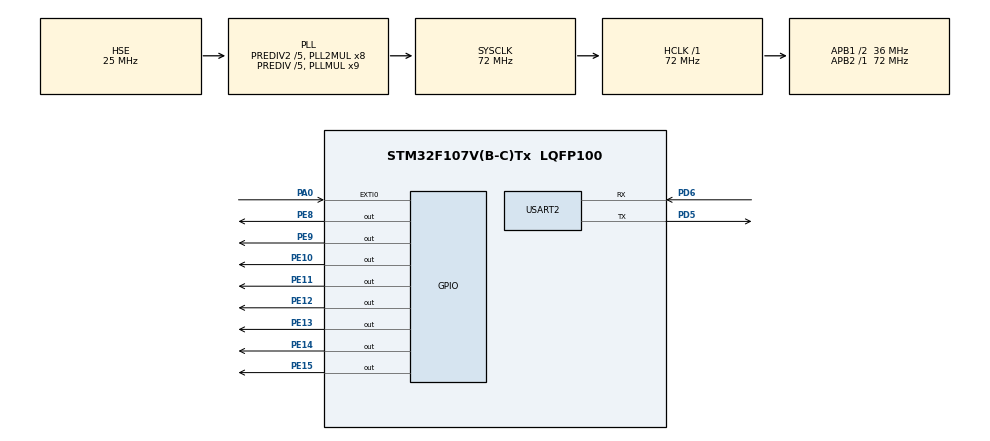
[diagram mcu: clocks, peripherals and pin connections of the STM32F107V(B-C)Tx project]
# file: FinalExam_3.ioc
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Mcu.Family=STM32F1
Mcu.Name=STM32F107V(B-C)Tx
Mcu.Package=LQFP100
NVIC.EXTI0_IRQn=true\:2\:0\:true\:false\:true\:true
NVIC.PriorityGroup=NVIC_PRIORITYGROUP_4
NVIC.TIM2_IRQn=true\:1\:0\:true\:false\:true\:true
OSC_IN.Mode=HSE-External-Oscillator
OSC_IN.Signal=RCC_OSC_IN
OSC_OUT.Mode=HSE-External-Oscillator
OSC_OUT.Signal=RCC_OSC_OUT
PA0-WKUP.Signal=GPXTI0
PD5.Mode=Asynchronous
PD5.Signal=USART2_TX
PD6.Mode=Asynchronous
PD6.Signal=USART2_RX
PE10.GPIO_Speed=GPIO_SPEED_FREQ_HIGH
PE10.Signal=GPIO_Output
PE11.GPIO_Speed=GPIO_SPEED_FREQ_HIGH
PE11.Signal=GPIO_Output
PE12.GPIO_Speed=GPIO_SPEED_FREQ_HIGH
PE12.Signal=GPIO_Output
PE13.GPIO_Speed=GPIO_SPEED_FREQ_HIGH
PE13.Signal=GPIO_Output
PE14.GPIO_Speed=GPIO_SPEED_FREQ_HIGH
PE14.Signal=GPIO_Output
PE15.GPIO_Speed=GPIO_SPEED_FREQ_HIGH
PE15.Signal=GPIO_Output
PE8.GPIO_Speed=GPIO_SPEED_FREQ_HIGH
PE8.Signal=GPIO_Output
PE9.GPIO_Speed=GPIO_SPEED_FREQ_HIGH
PE9.Signal=GPIO_Output
ProjectManager.HeapSize=0x200
ProjectManager.StackSize=0x400
ProjectManager.TargetToolchain=MDK-ARM V5
RCC.AHBFreq_Value=72000000
RCC.APB1CLKDivider=RCC_HCLK_DIV2
RCC.APB1Freq_Value=36000000
RCC.APB1TimFreq_Value=72000000
RCC.APB2Freq_Value=72000000
RCC.APB2TimFreq_Value=72000000
RCC.HCLKFreq_Value=72000000
RCC.HSEDivPLL=RCC_HSE_PREDIV_DIV5
RCC.HSE_VALUE=25000000
RCC.PLLMUL=RCC_PLL_MUL9
RCC.PLLSourceVirtual=RCC_PLLSOURCE_HSE
RCC.Prediv1Source=RCC_PREDIV1_SOURCE_PLL2
RCC.Prediv2=RCC_HSE_PREDIV2_DIV5
RCC.SYSCLKFreq_VALUE=72000000
RCC.SYSCLKSource=RCC_SYSCLKSOURCE_PLLCLK
RCC.USBFreq_Value=48000000
TIM2.Period=100-1
TIM2.Prescaler=72-1
USART2.VirtualMode=VM_ASYNC
VP_SYS_VS_ND.Mode=No_Debug
VP_TIM2_VS_ClockSourceINT.Mode=Internal
board=FinalExam_3

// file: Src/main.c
/**
  ******************************************************************************
  * File Name          : main.c
  * Description        : Main program body
  ******************************************************************************
  ** This notice applies to any and all portions of this file
  * that are not between comment pairs USER CODE BEGIN and
  * USER CODE END. Other portions of this file, whether
  * inserted by the user or by software development tools
  * are owned by their respective copyright owners.
  *
  * COPYRIGHT(c) 2018 STMicroelectronics
  *
  * Redistribution and use in source and binary forms, with or without modification,
  * are permitted provided that the following conditions are met:
  *   1. Redistributions of source code must retain the above copyright notice,
  *      this list of conditions and the following disclaimer.
  *   2. Redistributions in binary form must reproduce the above copyright notice,
  *      this list of conditions and the following disclaimer in the documentation
  *      and/or other materials provided with the distribution.
  *   3. Neither the name of STMicroelectronics nor the names of its contributors
  *      may be used to endorse or promote products derived from this software
  *      without specific prior written permission.
  *
  * THIS SOFTWARE IS PROVIDED BY THE COPYRIGHT HOLDERS AND CONTRIBUTORS "AS IS"
  * AND ANY EXPRESS OR IMPLIED WARRANTIES, INCLUDING, BUT NOT LIMITED TO, THE
  * IMPLIED WARRANTIES OF MERCHANTABILITY AND FITNESS FOR A PARTICULAR PURPOSE ARE
  * DISCLAIMED. IN NO EVENT SHALL THE COPYRIGHT HOLDER OR CONTRIBUTORS BE LIABLE
  * FOR ANY DIRECT, INDIRECT, INCIDENTAL, SPECIAL, EXEMPLARY, OR CONSEQUENTIAL
  * DAMAGES (INCLUDING, BUT NOT LIMITED TO, PROCUREMENT OF SUBSTITUTE GOODS OR
  * SERVICES; LOSS OF USE, DATA, OR PROFITS; OR BUSINESS INTERRUPTION) HOWEVER
  * CAUSED AND ON ANY THEORY OF LIABILITY, WHETHER IN CONTRACT, STRICT LIABILITY,
  * OR TORT (INCLUDING NEGLIGENCE OR OTHERWISE) ARISING IN ANY WAY OUT OF THE USE
  * OF THIS SOFTWARE, EVEN IF ADVISED OF THE POSSIBILITY OF SUCH DAMAGE.
  *
  ******************************************************************************
  */

#include "main.h"
#include "stm32f1xx_hal.h"

/* USER CODE BEGIN Includes */
#include <string.h>
/* USER CODE END Includes */

TIM_HandleTypeDef htim2;

UART_HandleTypeDef huart2;

/* USER CODE BEGIN PV */
/* Private variables ---------------------------------------------------------*/
uint32_t count = 0;
uint32_t ledhex = 0;
uint32_t n = 0;
char timestr[10];

/* USER CODE END PV */

void SystemClock_Config(void);
static void MX_GPIO_Init(void);
static void MX_USART2_UART_Init(void);
static void MX_TIM2_Init(void);

/* USER CODE BEGIN PFP */
/* Private function prototypes -----------------------------------------------*/
void transmit(char*);
void timedigit(uint32_t, uint8_t);
/* USER CODE END PFP */

int main(void)
{

  /* MCU Configuration----------------------------------------------------------*/

  /* Reset of all peripherals, Initializes the Flash interface and the Systick. */
  HAL_Init();

  /* Configure the system clock */
  SystemClock_Config();

  /* Initialize all configured peripherals */
  MX_GPIO_Init();
  MX_USART2_UART_Init();
  MX_TIM2_Init();

  /* USER CODE BEGIN 2 */
	HAL_TIM_Base_Start_IT(&htim2);
  /* USER CODE END 2 */

  /* Infinite loop */
  while (1)
  {

  /* USER CODE BEGIN 3 */
	timedigit(count, 0);
	HAL_Delay(10);
  }
  /* USER CODE END 3 */

}

/** System Clock Configuration
*/
void SystemClock_Config(void)
{

  RCC_OscInitTypeDef RCC_OscInitStruct;
  RCC_ClkInitTypeDef RCC_ClkInitStruct;

    /**Initializes the CPU, AHB and APB busses clocks
    */
  RCC_OscInitStruct.OscillatorType = RCC_OSCILLATORTYPE_HSE;
  RCC_OscInitStruct.HSEState = RCC_HSE_ON;
  RCC_OscInitStruct.HSEPredivValue = RCC_HSE_PREDIV_DIV5;
  RCC_OscInitStruct.HSIState = RCC_HSI_ON;
  RCC_OscInitStruct.Prediv1Source = RCC_PREDIV1_SOURCE_PLL2;
  RCC_OscInitStruct.PLL.PLLState = RCC_PLL_ON;
  RCC_OscInitStruct.PLL.PLLSource = RCC_PLLSOURCE_HSE;
  RCC_OscInitStruct.PLL.PLLMUL = RCC_PLL_MUL9;
  RCC_OscInitStruct.PLL2.PLL2State = RCC_PLL2_ON;
  RCC_OscInitStruct.PLL2.PLL2MUL = RCC_PLL2_MUL8;
  RCC_OscInitStruct.PLL2.HSEPrediv2Value = RCC_HSE_PREDIV2_DIV5;
  if (HAL_RCC_OscConfig(&RCC_OscInitStruct) != HAL_OK)
  {
    _Error_Handler(__FILE__, __LINE__);
  }

    /**Initializes the CPU, AHB and APB busses clocks
    */
  RCC_ClkInitStruct.ClockType = RCC_CLOCKTYPE_HCLK|RCC_CLOCKTYPE_SYSCLK
                              |RCC_CLOCKTYPE_PCLK1|RCC_CLOCKTYPE_PCLK2;
  RCC_ClkInitStruct.SYSCLKSource = RCC_SYSCLKSOURCE_PLLCLK;
  RCC_ClkInitStruct.AHBCLKDivider = RCC_SYSCLK_DIV1;
  RCC_ClkInitStruct.APB1CLKDivider = RCC_HCLK_DIV2;
  RCC_ClkInitStruct.APB2CLKDivider = RCC_HCLK_DIV1;

  if (HAL_RCC_ClockConfig(&RCC_ClkInitStruct, FLASH_LATENCY_2) != HAL_OK)
  {
    _Error_Handler(__FILE__, __LINE__);
  }

    /**Configure the Systick interrupt time
    */
  HAL_SYSTICK_Config(HAL_RCC_GetHCLKFreq()/1000);

    /**Configure the Systick
    */
  HAL_SYSTICK_CLKSourceConfig(SYSTICK_CLKSOURCE_HCLK);

    /**Configure the Systick interrupt time
    */
  __HAL_RCC_PLLI2S_ENABLE();

  /* SysTick_IRQn interrupt configuration */
  HAL_NVIC_SetPriority(SysTick_IRQn, 0, 0);
}

/* TIM2 init function */
static void MX_TIM2_Init(void)
{

  TIM_ClockConfigTypeDef sClockSourceConfig;
  TIM_MasterConfigTypeDef sMasterConfig;

  htim2.Instance = TIM2;
  htim2.Init.Prescaler = 72-1;
  htim2.Init.CounterMode = TIM_COUNTERMODE_UP;
  htim2.Init.Period = 100-1;
  htim2.Init.ClockDivision = TIM_CLOCKDIVISION_DIV1;
  htim2.Init.AutoReloadPreload = TIM_AUTORELOAD_PRELOAD_DISABLE;
  if (HAL_TIM_Base_Init(&htim2) != HAL_OK)
  {
    _Error_Handler(__FILE__, __LINE__);
  }

  sClockSourceConfig.ClockSource = TIM_CLOCKSOURCE_INTERNAL;
  if (HAL_TIM_ConfigClockSource(&htim2, &sClockSourceConfig) != HAL_OK)
  {
    _Error_Handler(__FILE__, __LINE__);
  }

  sMasterConfig.MasterOutputTrigger = TIM_TRGO_RESET;
  sMasterConfig.MasterSlaveMode = TIM_MASTERSLAVEMODE_DISABLE;
  if (HAL_TIMEx_MasterConfigSynchronization(&htim2, &sMasterConfig) != HAL_OK)
  {
    _Error_Handler(__FILE__, __LINE__);
  }

}

/* USART2 init function */
static void MX_USART2_UART_Init(void)
{

  huart2.Instance = USART2;
  huart2.Init.BaudRate = 115200;
  huart2.Init.WordLength = UART_WORDLENGTH_8B;
  huart2.Init.StopBits = UART_STOPBITS_1;
  huart2.Init.Parity = UART_PARITY_NONE;
  huart2.Init.Mode = UART_MODE_TX_RX;
  huart2.Init.HwFlowCtl = UART_HWCONTROL_NONE;
  huart2.Init.OverSampling = UART_OVERSAMPLING_16;
  if (HAL_UART_Init(&huart2) != HAL_OK)
  {
    _Error_Handler(__FILE__, __LINE__);
  }

}

/** Configure pins as
        * Analog
        * Input
        * Output
        * EVENT_OUT
        * EXTI
*/
static void MX_GPIO_Init(void)
{

  GPIO_InitTypeDef GPIO_InitStruct;

  /* GPIO Ports Clock Enable */
  __HAL_RCC_GPIOA_CLK_ENABLE();
  __HAL_RCC_GPIOE_CLK_ENABLE();
  __HAL_RCC_GPIOD_CLK_ENABLE();

  /*Configure GPIO pin Output Level */
  HAL_GPIO_WritePin(GPIOE, GPIO_PIN_8|GPIO_PIN_9|GPIO_PIN_10|GPIO_PIN_11
                          |GPIO_PIN_12|GPIO_PIN_13|GPIO_PIN_14|GPIO_PIN_15, GPIO_PIN_RESET);

  /*Configure GPIO pin : PA0 */
  GPIO_InitStruct.Pin = GPIO_PIN_0;
  GPIO_InitStruct.Mode = GPIO_MODE_IT_RISING;
  GPIO_InitStruct.Pull = GPIO_NOPULL;
  HAL_GPIO_Init(GPIOA, &GPIO_InitStruct);

  /*Configure GPIO pins : PE8 PE9 PE10 PE11
                           PE12 PE13 PE14 PE15 */
  GPIO_InitStruct.Pin = GPIO_PIN_8|GPIO_PIN_9|GPIO_PIN_10|GPIO_PIN_11
                          |GPIO_PIN_12|GPIO_PIN_13|GPIO_PIN_14|GPIO_PIN_15;
  GPIO_InitStruct.Mode = GPIO_MODE_OUTPUT_PP;
  GPIO_InitStruct.Speed = GPIO_SPEED_FREQ_HIGH;
  HAL_GPIO_Init(GPIOE, &GPIO_InitStruct);

  /* EXTI interrupt init*/
  HAL_NVIC_SetPriority(EXTI0_IRQn, 2, 0);
  HAL_NVIC_EnableIRQ(EXTI0_IRQn);

}

/* USER CODE BEGIN 4 */
void transmit(char* str) {
	HAL_UART_Transmit(&huart2, (uint8_t*)str, strlen(str), 100);
}

void timedigit(uint32_t count, uint8_t newline) {
	uint8_t min = (count/600000)%60;
	uint8_t sec = (count/10000)%60;
	uint8_t ms = (count/100)%100;
	if (newline)
		sprintf(timestr, "%02d:%02d:%02d\r\n", min, sec, ms);
	else
		sprintf(timestr, "%02d:%02d:%02d\r", min, sec, ms);
	transmit(timestr);
}

/* USER CODE END 4 */

void _Error_Handler(char * file, int line)
{
  while(1)
  {
  }
}

/************************ (C) COPYRIGHT STMicroelectronics *****END OF FILE****/
